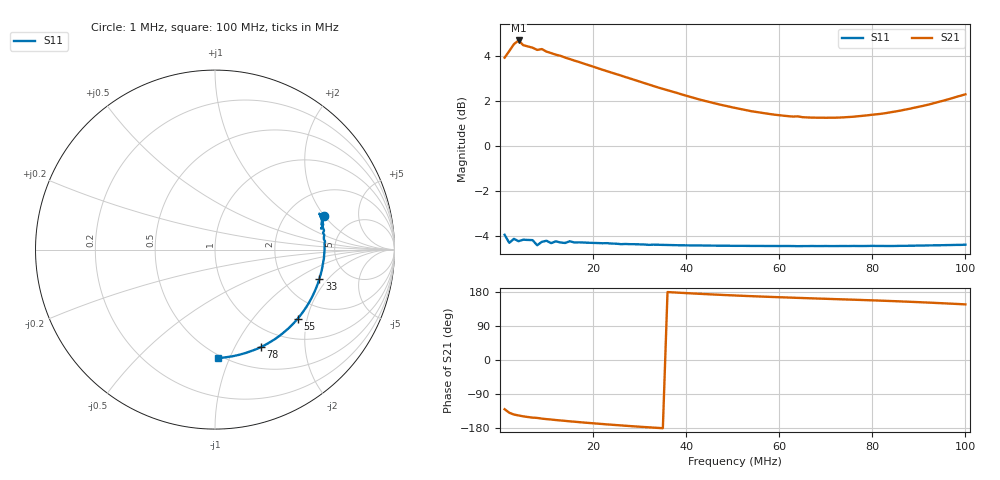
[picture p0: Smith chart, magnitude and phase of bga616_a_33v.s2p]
# HZ S RI R 50
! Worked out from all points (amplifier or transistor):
!   100 points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, 1 MHz to 100 MHz, reference 50 ohm
!   highest |S21| = 4.7 dB at 4 MHz (marker M1)
!   |S21| within 3 dB of that: start of sweep to 50.6 MHz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
!   S11 on the Smith chart (normalised r, x): 1 MHz: 3.16, +1.98; 33 MHz: 3.16, -1.61; 55 MHz: 1.46, -1.75; 78 MHz: 0.75, -1.28; 100 MHz: 0.48, -0.91
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1000001  0.6077 0.1862  -1.009 -1.207  0 0  0 0
2000001  0.5942 0.1379  -1.23 -1.064  0 0  0 0
3000001  0.5963 0.1786  -1.362 -0.9927  0 0  0 0
4000001  0.5814 0.2007  -1.43 -0.9516  0 0  0 0
5000001  0.5986 0.1604  -1.433 -0.8707  0 0  0 0
7000001  0.6027 0.1385  -1.461 -0.7769  0 0  0 0
8000001  0.591 0.1166  -1.456 -0.7464  0 0  0 0
9000001  0.5999 0.1262  -1.485 -0.7038  0 0  0 0
1e7  0.6072 0.1063  -1.483 -0.6585  0 0  0 0
1.2e7  0.6092 0.0816  -1.485 -0.5864  0 0  0 0
1.8e7  0.6108 0.0115  -1.474 -0.3946  0 0  0 0
2.5e7  0.6031 -0.0703  -1.431 -0.2079  0 0  0 0
3.3e7  0.5821 -0.1623  -1.36 -0.0366  0 0  0 0
3.4e7  0.5784 -0.1736  -1.35 -0.0181  0 0  0 0
4.2e7  0.5427 -0.2599  -1.273 0.1063  0 0  0 0
5.1e7  0.4891 -0.3486  -1.195 0.2109  0 0  0 0
5.5e7  0.4606 -0.385  -1.166 0.2482  0 0  0 0
6.7e7  0.3615 -0.479  -1.105 0.344  0 0  0 0
7.8e7  0.2557 -0.5429  -1.085 0.4331  0 0  0 0
8.4e7  0.1926 -0.5684  -1.084 0.4912  0 0  0 0
9.2e7  0.1061 -0.5925  -1.087 0.5899  0 0  0 0
1e8  0.0174 -0.6039  -1.09 0.7147  0 0  0 0
